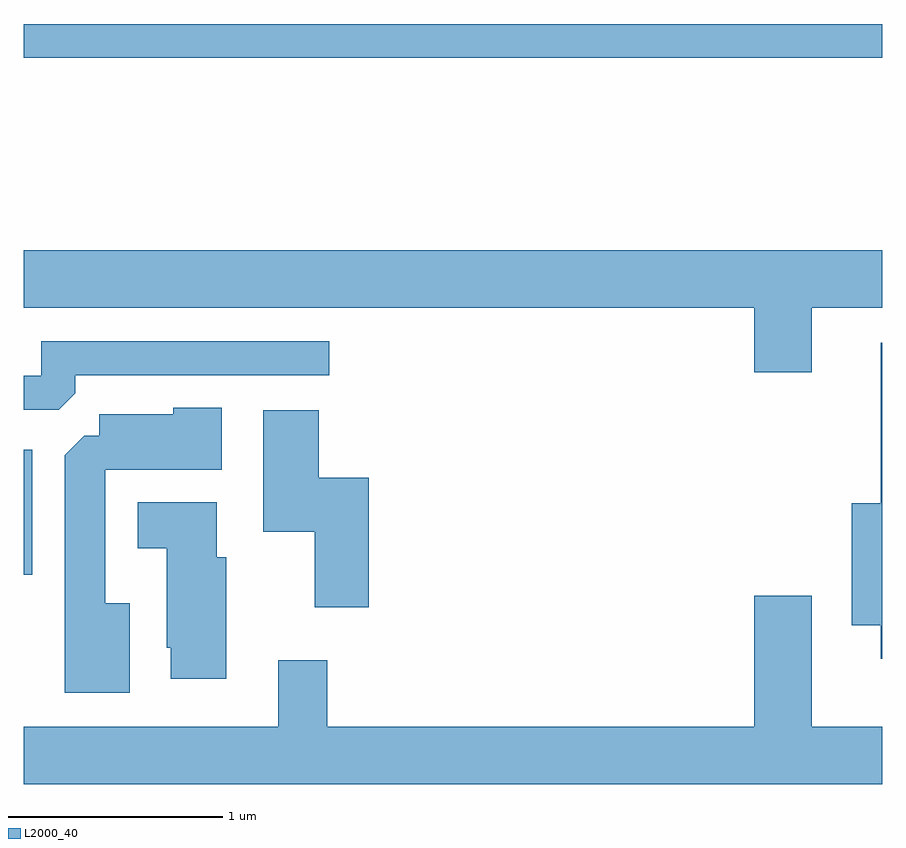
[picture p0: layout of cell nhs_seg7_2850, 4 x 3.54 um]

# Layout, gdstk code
import gdstk
lib = gdstk.Library(unit=1e-6, precision=1e-09)
def R(c, l, rs):  # rectangles x0, y0, x1, y1
    for r in rs: c.add(gdstk.rectangle(r[:2], r[2:], *l))
def P(c, l, *ps):  # polygons
    for p in ps: c.add(gdstk.Polygon(p, *l))
L2000_40 = (2000, 40)

nhs_seg7_2850 = lib.new_cell('nhs_seg7_2850')
R(nhs_seg7_2850, L2000_40, [(271.611,1777.451,271.649,1778.034), (271.611,1779.861,275.611,1780.019)])
P(nhs_seg7_2850, L2000_40, [(275.284,1778.696),(275.611,1778.696),(275.611,1778.964),(271.611,1778.964),(271.611,1778.696),(275.016,1778.696),(275.016,1778.396),(275.284,1778.396)],
  [(271.849,1778.297),(271.849,1778.381),(273.033,1778.381),(273.033,1778.539),(271.691,1778.539),(271.691,1778.379),(271.611,1778.379),(271.611,1778.221),(271.774,1778.221)],
  [(275.611,1778.534),(275.606,1778.534),(275.606,1777.784),(275.471,1777.784),(275.471,1777.216),(275.606,1777.216),(275.606,1777.061),(275.611,1777.061)],
  [(272.104,1777.319),(271.989,1777.319),(271.989,1777.941),(272.534,1777.941),(272.534,1778.229),(272.306,1778.229),(272.306,1778.199),(271.961,1778.199),(271.961,1778.099),(271.892,1778.099),(271.801,1778.009),(271.801,1776.901),(272.104,1776.901)],
  [(273.219,1777.904),(272.984,1777.904),(272.984,1778.219),(272.726,1778.219),(272.726,1777.651),(272.966,1777.651),(272.966,1777.301),(273.219,1777.301)],
  [(272.554,1777.534),(272.509,1777.534),(272.509,1777.789),(272.141,1777.789),(272.141,1777.576),(272.276,1777.576),(272.276,1777.111),(272.296,1777.111),(272.296,1776.966),(272.554,1776.966)],
  [(275.611,1776.744),(275.284,1776.744),(275.284,1777.354),(275.016,1777.354),(275.016,1776.744),(273.024,1776.744),(273.024,1777.054),(272.796,1777.054),(272.796,1776.744),(271.611,1776.744),(271.611,1776.476),(275.611,1776.476)])

lib.write_gds('nhs_seg7_2850.gds')
